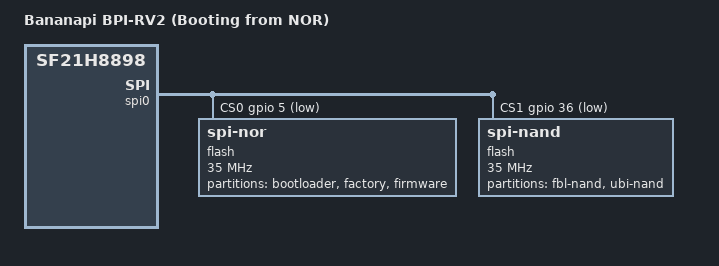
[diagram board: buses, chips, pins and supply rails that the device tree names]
/dts-v1/;
#include "sf21h8898_bananapi_bpi-rv2.dtsi"

/ {
	model = "Bananapi BPI-RV2 (Booting from NOR)";
	compatible = "bananapi,bpi-rv2-nor", "siflower,sf21h8898";
};

&spi0 {
	status = "okay";
	num-cs = <2>;
	cs-gpios = <&gpio 5 GPIO_ACTIVE_LOW>, <&gpio 36 GPIO_ACTIVE_LOW>;

	flash@0 {
		compatible = "jedec,spi-nor";
		reg = <0>;
		spi-max-frequency = <35000000>;
		spi-tx-bus-width = <2>;
		spi-rx-bus-width = <2>;

		partitions {
			compatible = "fixed-partitions";
			#address-cells = <1>;
			#size-cells = <1>;

			partition@0 {
				label = "bootloader";
				reg = <0x0 0x90000>;
				read-only;
			};

			factory: partition@90000 {
				label = "factory";
				reg = <0x90000 0x10000>;

				nvmem-layout {
					compatible = "fixed-layout";
					#address-cells = <1>;
					#size-cells = <1>;

					macaddr_factory_0: macaddr@0 {
						compatible = "mac-base";
						reg = <0x0 0x6>;
						#nvmem-cell-cells = <1>;
					};
				};
			};

			rootdisk: partition@a0000 {
				label = "firmware";
				reg = <0xa0000 0xf60000>;
				compatible = "denx,fit";
			};
		};
	};

	flash@1 {
		compatible = "spi-nand";
		reg = <1>;
		spi-max-frequency = <35000000>;
		spi-tx-bus-width = <2>;
		spi-rx-bus-width = <2>;

		partitions {
			compatible = "fixed-partitions";
			#address-cells = <1>;
			#size-cells = <1>;

			partition@0 {
				label = "fbl-nand";
				reg = <0x0 0x20000>;
			};

			partition@20000 {
				label = "ubi-nand";
				reg = <0x20000 0x0>;
			};
		};
	};
};
